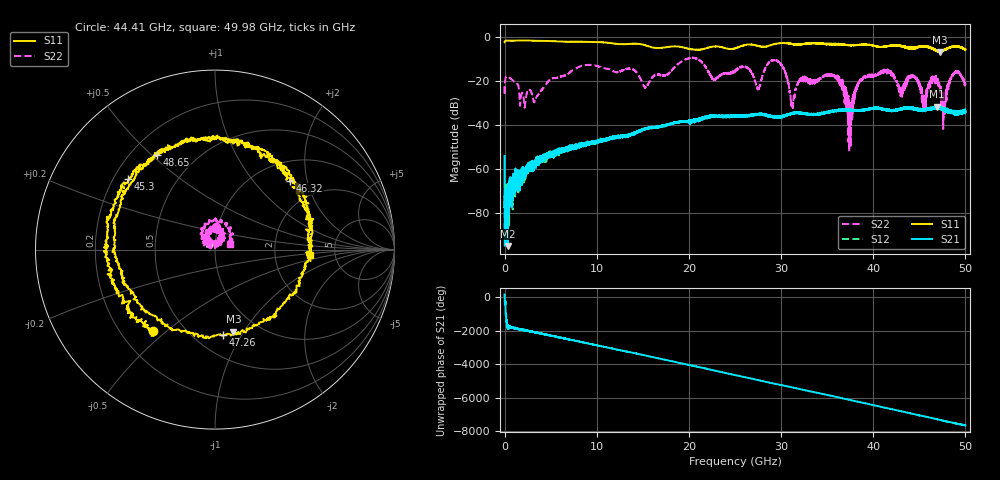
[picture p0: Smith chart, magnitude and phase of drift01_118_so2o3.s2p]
!Created with skrf (http://scikit-rf.org).
# Hz S RI R 50.0
!freq ReS11 ImS11 ReS21 ImS21 ReS12 ImS12 ReS22 ImS22
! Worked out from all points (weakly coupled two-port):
!   10001 points, 300 kHz to 50 GHz, reference 50 ohm
!   highest |S21| = -31.50 dB at 46.9 GHz (marker M1); lowest = -95.1 dB at 355.3 MHz (marker M2)
!   lowest |S11| = -6.6 dB at 47.21 GHz (marker M3), VSWR 2.77, Z = 38.4 - j45.1 ohm
!   |S11| at or under -10 dB: nowhere
!   |S22| runs from -51.9 to -9.2 dB; largest |S21 - S12| = 0.0037
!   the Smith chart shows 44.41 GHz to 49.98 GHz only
!   S11 on the Smith chart (normalised r, x): 44.41 GHz: 0.33, -0.45; 45.3 GHz: 0.26, +0.33; 46.32 GHz: 1.40, +1.58; 47.26 GHz: 0.68, -0.84; 48.65 GHz: 0.30, +0.52; 49.98 GHz: 3.24, -0.25
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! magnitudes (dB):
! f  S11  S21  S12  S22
! 300 kHz  -2.1  -54.1  -55.6  -22.3
! 355.3 MHz  -1.4  -95.1  -85.5  -17.9
! 3.29 GHz  -1.5  -56.8  -57.9  -28.8
! 8.335 GHz  -1.9  -48.1  -48.7  -12.9
! 16.67 GHz  -4.8  -40.9  -40.6  -16.7
! 25 GHz  -5.0  -36.1  -35.8  -15.5
! 29.58 GHz  -2.8  -36.4  -36.3  -10.6
! 31.24 GHz  -3.0  -34.5  -34.5  -31.6
! 33.34 GHz  -2.6  -35.1  -35.1  -20.4
! 36.08 GHz  -2.9  -33.3  -33.3  -18.8
! 37.49 GHz  -3.5  -32.8  -33.2  -32.1
! 38.65 GHz  -3.3  -33.3  -33.1  -19.9
! 41.67 GHz  -3.8  -33.3  -33.3  -15.5
! 44.41 GHz  -4.9  -32.5  -32.5  -17.9
! 45.3 GHz  -4.1  -33.3  -33.2  -24.4
! 46.32 GHz  -4.9  -33.1  -32.5  -19.6
! 46.9 GHz  -5.9  -31.5  -32.2  -20.3
! 47.21 GHz  -6.6  -31.6  -32.0  -23.9
! 47.26 GHz  -6.4  -31.9  -32.0  -23.4
! 48.65 GHz  -4.2  -34.1  -34.0  -17.1
! 49.98 GHz  -5.5  -34.3  -33.3  -21.0
! 50 GHz  -5.4  -34.1  -34.1  -21.9
